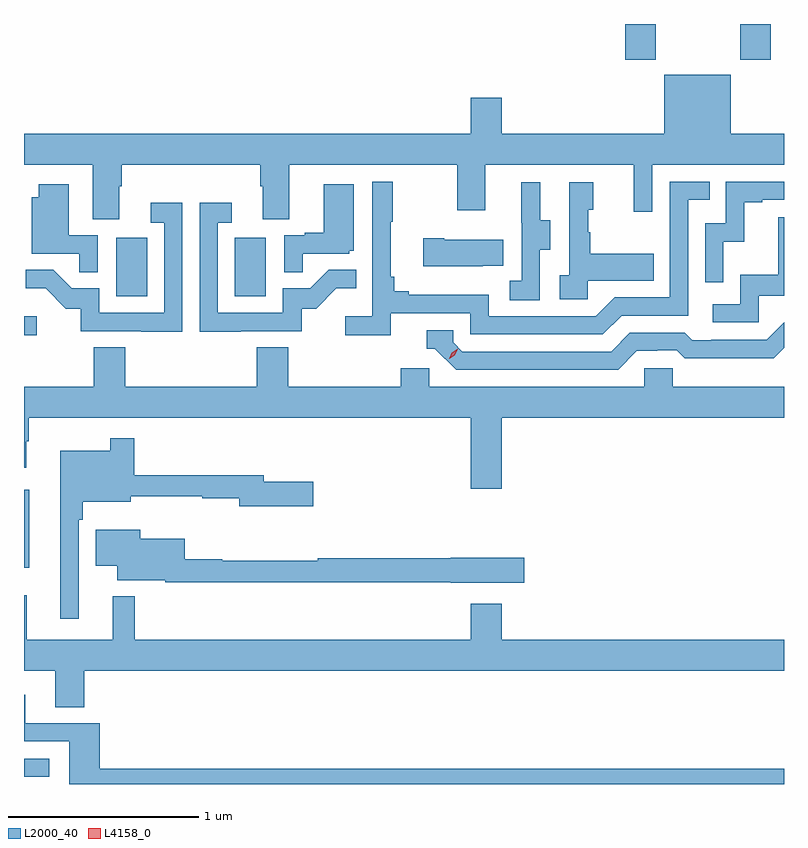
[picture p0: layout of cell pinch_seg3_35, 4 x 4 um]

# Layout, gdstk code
import gdstk
lib = gdstk.Library(unit=1e-6, precision=1e-09)
def R(c, l, rs):  # rectangles x0, y0, x1, y1
    for r in rs: c.add(gdstk.rectangle(r[:2], r[2:], *l))
def P(c, l, *ps):  # polygons
    for p in ps: c.add(gdstk.Polygon(p, *l))
L2000_40 = (2000, 40)
L4158_0 = (4158, 0)

pinch_seg3_35 = lib.new_cell('pinch_seg3_35')
R(pinch_seg3_35, L2000_40, [(1085.733,741.651,1085.866,741.747), (1085.733,742.751,1085.761,743.161), (1085.733,743.974,1085.8,744.076), (1086.218,744.18,1086.382,744.487), (1086.842,744.18,1087.006,744.487), (1088.897,745.425,1089.057,745.613), (1089.502,745.425,1089.662,745.613)])
P(pinch_seg3_35, L2000_40, [(1086.235,744.76),(1086.248,744.76),(1086.248,744.872),(1086.977,744.872),(1086.977,744.76),(1086.989,744.76),(1086.989,744.586),(1087.129,744.586),(1087.129,744.872),(1088.014,744.872),(1088.014,744.633),(1088.161,744.633),(1088.161,744.872),(1088.942,744.872),(1088.942,744.624),(1089.039,744.624),(1089.039,744.872),(1089.733,744.872),(1089.733,745.036),(1089.454,745.036),(1089.454,745.345),(1089.104,745.345),(1089.104,745.036),(1088.248,745.036),(1088.248,745.225),(1088.084,745.225),(1088.084,745.036),(1085.733,745.036),(1085.733,744.872),(1086.095,744.872),(1086.095,744.586),(1086.235,744.586)],
  [(1087.664,744.09),(1088.082,744.09),(1088.082,743.979),(1088.779,743.979),(1088.878,744.078),(1089.228,744.078),(1089.228,744.687),(1089.341,744.687),(1089.341,744.783),(1089.132,744.783),(1089.132,744.174),(1088.841,744.174),(1088.742,744.075),(1088.178,744.075),(1088.178,744.187),(1087.759,744.187),(1087.759,744.206),(1087.682,744.206),(1087.682,744.283),(1087.663,744.283),(1087.663,744.571),(1087.675,744.571),(1087.675,744.784),(1087.566,744.784),(1087.566,744.076),(1087.425,744.076),(1087.425,743.974),(1087.664,743.974)],
  [(1089.414,744.467),(1089.524,744.467),(1089.524,744.675),(1089.619,744.675),(1089.619,744.687),(1089.733,744.687),(1089.733,744.783),(1089.426,744.783),(1089.426,744.564),(1089.318,744.564),(1089.318,744.255),(1089.414,744.255)],
  [(1088.7,744.263),(1089.047,744.263),(1089.047,744.403),(1088.713,744.403),(1088.713,744.518),(1088.703,744.518),(1088.703,744.636),(1088.728,744.636),(1088.728,744.781),(1088.604,744.781),(1088.604,744.29),(1088.553,744.29),(1088.553,744.165),(1088.7,744.165)],
  [(1088.448,744.424),(1088.503,744.424),(1088.503,744.579),(1088.449,744.579),(1088.449,744.781),(1088.351,744.781),(1088.351,744.567),(1088.352,744.567),(1088.352,744.263),(1088.289,744.263),(1088.289,744.16),(1088.448,744.16)],
  [(1087.199,744.405),(1087.446,744.405),(1087.446,744.42),(1087.468,744.42),(1087.468,744.769),(1087.31,744.769),(1087.31,744.514),(1087.211,744.514),(1087.211,744.501),(1087.104,744.501),(1087.104,744.307),(1087.199,744.307)],
  [(1086.12,744.501),(1085.968,744.501),(1085.968,744.769),(1085.81,744.769),(1085.81,744.7),(1085.774,744.7),(1085.774,744.405),(1086.025,744.405),(1086.025,744.307),(1086.12,744.307)],
  [(1086.567,744.673),(1086.399,744.673),(1086.399,744.567),(1086.471,744.567),(1086.471,744.093),(1086.129,744.093),(1086.129,744.222),(1085.984,744.222),(1085.887,744.319),(1085.743,744.319),(1085.743,744.221),(1085.847,744.221),(1085.954,744.114),(1086.031,744.114),(1086.031,743.997),(1086.349,743.997),(1086.349,743.992),(1086.567,743.992)],
  [(1086.875,743.997),(1087.194,743.997),(1087.194,744.114),(1087.27,744.114),(1087.377,744.221),(1087.481,744.221),(1087.481,744.32),(1087.337,744.32),(1087.239,744.222),(1087.095,744.222),(1087.095,744.093),(1086.753,744.093),(1086.753,744.567),(1086.826,744.567),(1086.826,744.673),(1086.657,744.673),(1086.657,743.992),(1086.875,743.992)],
  [(1089.6,744.183),(1089.733,744.183),(1089.733,744.595),(1089.703,744.595),(1089.703,744.292),(1089.504,744.292),(1089.504,744.138),(1089.357,744.138),(1089.357,744.042),(1089.6,744.042)],
  [(1088.147,744.341),(1088.255,744.341),(1088.255,744.478),(1087.945,744.478),(1087.945,744.486),(1087.833,744.486),(1087.833,744.338),(1088.147,744.338)],
  [(1088.959,743.892),(1089.066,743.892),(1089.066,743.895),(1089.169,743.895),(1089.211,743.853),(1089.444,743.853),(1089.444,743.855),(1089.68,743.855),(1089.733,743.908),(1089.733,744.043),(1089.642,743.952),(1089.349,743.952),(1089.349,743.949),(1089.25,743.949),(1089.211,743.988),(1088.922,743.988),(1088.823,743.889),(1088.04,743.889),(1087.992,743.937),(1087.992,744),(1087.853,744),(1087.853,743.904),(1087.896,743.904),(1088.007,743.793),(1088.86,743.793)],
  [(1088.248,743.54),(1089.733,743.54),(1089.733,743.704),(1089.147,743.704),(1089.147,743.802),(1088.997,743.802),(1088.997,743.704),(1087.866,743.704),(1087.866,743.802),(1087.715,743.802),(1087.715,743.704),(1087.124,743.704),(1087.124,743.912),(1086.959,743.912),(1086.959,743.704),(1086.266,743.704),(1086.266,743.912),(1086.101,743.912),(1086.101,743.704),(1085.733,743.704),(1085.733,743.277),(1085.746,743.277),(1085.746,743.417),(1085.758,743.417),(1085.758,743.54),(1088.084,743.54),(1088.084,743.166),(1088.248,743.166)],
  [(1086.021,743.003),(1086.041,743.003),(1086.041,743.099),(1086.295,743.099),(1086.295,743.128),(1086.67,743.128),(1086.67,743.118),(1086.866,743.118),(1086.866,743.075),(1087.255,743.075),(1087.255,743.205),(1086.994,743.205),(1086.994,743.239),(1086.314,743.239),(1086.314,743.434),(1086.186,743.434),(1086.186,743.368),(1085.924,743.368),(1085.924,742.482),(1086.021,742.482)],
  [(1088.365,742.803),(1087.98,742.803),(1087.98,742.802),(1087.278,742.802),(1087.278,742.787),(1086.776,742.787),(1086.776,742.795),(1086.58,742.795),(1086.58,742.903),(1086.346,742.903),(1086.346,742.951),(1086.11,742.951),(1086.11,742.763),(1086.224,742.763),(1086.224,742.685),(1086.476,742.685),(1086.476,742.674),(1087.98,742.674),(1087.98,742.673),(1088.365,742.673)],
  [(1086.05,742.208),(1089.733,742.208),(1089.733,742.372),(1088.248,742.372),(1088.248,742.561),(1088.084,742.561),(1088.084,742.372),(1086.317,742.372),(1086.317,742.6),(1086.2,742.6),(1086.2,742.372),(1085.747,742.372),(1085.747,742.606),(1085.733,742.606),(1085.733,742.208),(1085.897,742.208),(1085.897,742.018),(1086.05,742.018)],
  [(1089.733,741.692),(1086.131,741.692),(1086.131,741.933),(1085.74,741.933),(1085.74,742.084),(1085.733,742.084),(1085.733,741.837),(1085.972,741.837),(1085.972,741.613),(1089.733,741.613)])
P(pinch_seg3_35, L4158_0, [(1087.97,743.85),(1087.97,743.851),(1087.985,743.883),(1088.015,743.903),(1088.016,743.903),(1088.016,743.903),(1088,743.87),(1087.97,743.85)])

lib.write_gds('pinch_seg3_35.gds')
